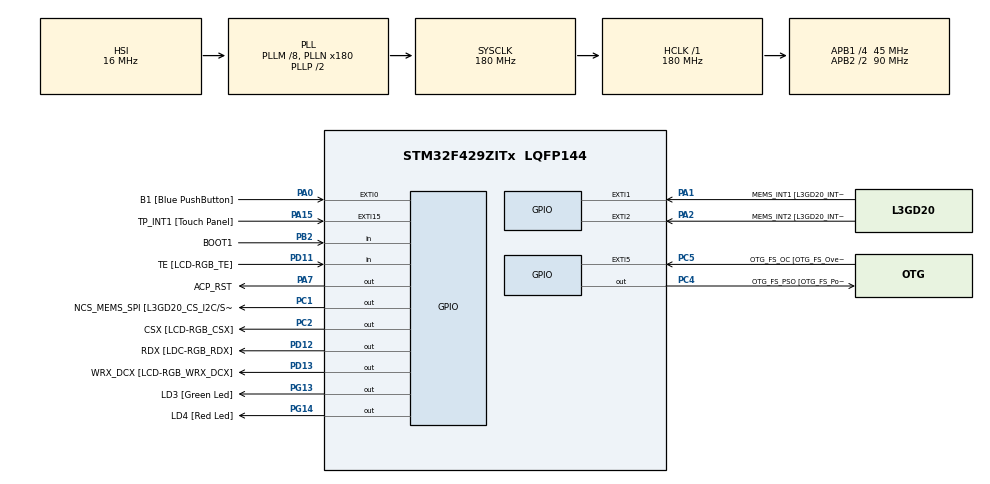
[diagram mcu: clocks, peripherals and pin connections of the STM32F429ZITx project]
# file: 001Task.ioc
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Mcu.Family=STM32F4
Mcu.Name=STM32F429ZITx
Mcu.Package=LQFP144
NVIC.PriorityGroup=NVIC_PRIORITYGROUP_4
NVIC.TIM5_IRQn=true\:0\:0\:false\:false\:true\:false\:true
NVIC.TimeBase=TIM5_IRQn
NVIC.TimeBaseIP=TIM5
PA0/WKUP.GPIO_Label=B1 [Blue PushButton]
PA0/WKUP.GPIO_ModeDefaultEXTI=GPIO_MODE_EVT_RISING
PA0/WKUP.GPIO_PuPd=GPIO_NOPULL
PA0/WKUP.Signal=GPXTI0
PA1.GPIO_Label=MEMS_INT1 [L3GD20_INT1]
PA1.GPIO_ModeDefaultEXTI=GPIO_MODE_EVT_RISING
PA1.GPIO_PuPd=GPIO_NOPULL
PA1.Signal=GPXTI1
PA10.GPIO_Label=STLINK_TX [STM32F103CBT6_PA2]
PA10.Signal=USART1_RX
PA11.GPIO_Label=R4
PA11.GPIO_Mode=GPIO_MODE_AF_PP
PA11.GPIO_PuPd=GPIO_NOPULL
PA11.GPIO_Speed=GPIO_SPEED_FREQ_LOW
PA11.Signal=LTDC_R4
PA12.GPIO_Label=R5
PA12.GPIO_Mode=GPIO_MODE_AF_PP
PA12.GPIO_PuPd=GPIO_NOPULL
PA12.GPIO_Speed=GPIO_SPEED_FREQ_LOW
PA12.Signal=LTDC_R5
PA13.GPIO_Label=SWDIO
PA13.Signal=SYS_JTMS-SWDIO
PA14.GPIO_Label=SWCLK
PA14.Signal=SYS_JTCK-SWCLK
PA15.GPIO_Label=TP_INT1 [Touch Panel]
PA15.GPIO_ModeDefaultEXTI=GPIO_MODE_EVT_RISING
PA15.GPIO_PuPd=GPIO_NOPULL
PA15.Signal=GPXTI15
PA2.GPIO_Label=MEMS_INT2 [L3GD20_INT2]
PA2.GPIO_ModeDefaultEXTI=GPIO_MODE_EVT_RISING
PA2.GPIO_PuPd=GPIO_NOPULL
PA2.Signal=GPXTI2
PA3.GPIO_Label=B5
PA3.GPIO_Mode=GPIO_MODE_AF_PP
PA3.GPIO_PuPd=GPIO_NOPULL
PA3.GPIO_Speed=GPIO_SPEED_FREQ_LOW
PA3.Signal=LTDC_B5
PA4.GPIO_Label=VSYNC
PA4.GPIO_Mode=GPIO_MODE_AF_PP
PA4.GPIO_PuPd=GPIO_NOPULL
PA4.GPIO_Speed=GPIO_SPEED_FREQ_LOW
PA4.Signal=LTDC_VSYNC
PA6.GPIO_Label=G2
PA6.GPIO_Mode=GPIO_MODE_AF_PP
PA6.GPIO_PuPd=GPIO_NOPULL
PA6.GPIO_Speed=GPIO_SPEED_FREQ_LOW
PA6.Signal=LTDC_G2
PA7.GPIO_Label=ACP_RST
PA7.GPIO_Mode=GPIO_MODE_OUTPUT_PP
PA7.GPIO_PuPd=GPIO_NOPULL
PA7.GPIO_Speed=GPIO_SPEED_FREQ_LOW
PA7.Signal=GPIO_Output
PA8.GPIO_Label=I2C3_SCL [ACP/RF_SCL]
PA8.GPIO_Mode=GPIO_MODE_AF_OD
PA8.GPIO_PuPd=GPIO_NOPULL
PA8.GPIO_Speed=GPIO_SPEED_FREQ_LOW
PA8.Signal=I2C3_SCL
PA9.GPIO_Label=STLINK_RX [STM32F103CBT6_PA3]
PA9.Signal=USART1_TX
PB0.GPIO_Label=R3
PB0.GPIO_Mode=GPIO_MODE_AF_PP
PB0.GPIO_PuPd=GPIO_NOPULL
PB0.GPIO_Speed=GPIO_SPEED_FREQ_LOW
PB0.Signal=LTDC_R3
PB1.GPIO_Label=R6
PB1.GPIO_Mode=GPIO_MODE_AF_PP
PB1.GPIO_PuPd=GPIO_NOPULL
PB1.GPIO_Speed=GPIO_SPEED_FREQ_LOW
PB1.Signal=LTDC_R6
PB10.GPIO_Label=G4
PB10.GPIO_Mode=GPIO_MODE_AF_PP
PB10.GPIO_PuPd=GPIO_NOPULL
PB10.GPIO_Speed=GPIO_SPEED_FREQ_LOW
PB10.Signal=LTDC_G4
PB11.GPIO_Label=G5
PB11.GPIO_Mode=GPIO_MODE_AF_PP
PB11.GPIO_PuPd=GPIO_NOPULL
PB11.GPIO_Speed=GPIO_SPEED_FREQ_LOW
PB11.Signal=LTDC_G5
PB12.GPIO_Label=OTG_HS_ID
PB12.GPIO_Mode=GPIO_MODE_AF_PP
PB12.GPIO_PuPd=GPIO_NOPULL
PB12.GPIO_Speed=GPIO_SPEED_FREQ_LOW
PB12.Signal=USB_OTG_HS_ID
PB13.GPIO_Label=VBUS_HS
PB13.GPIO_Mode=GPIO_MODE_INPUT
PB13.GPIO_PuPd=GPIO_NOPULL
PB13.Signal=USB_OTG_HS_VBUS
PB14.GPIO_Label=OTG_HS_DM
PB14.GPIO_Mode=GPIO_MODE_AF_PP
PB14.GPIO_PuPd=GPIO_NOPULL
PB14.GPIO_Speed=GPIO_SPEED_FREQ_LOW
PB14.Signal=USB_OTG_HS_DM
PB15.GPIO_Label=OTG_HS_DP
PB15.GPIO_Mode=GPIO_MODE_AF_PP
PB15.GPIO_PuPd=GPIO_NOPULL
PB15.GPIO_Speed=GPIO_SPEED_FREQ_LOW
PB15.Signal=USB_OTG_HS_DP
PB2/BOOT1.GPIO_Label=BOOT1
PB2/BOOT1.GPIO_Mode=GPIO_MODE_INPUT
PB2/BOOT1.GPIO_PuPd=GPIO_NOPULL
PB2/BOOT1.Signal=GPIO_Input
PB5.GPIO_Label=SDCKE1
PB5.GPIO_Mode=GPIO_MODE_AF_PP
PB5.GPIO_PuPd=GPIO_NOPULL
PB5.GPIO_Speed=GPIO_SPEED_FREQ_VERY_HIGH
PB5.Signal=FMC_SDCKE1
PB6.GPIO_Label=SDNE1 [SDRAM_CS]
PB6.GPIO_Mode=GPIO_MODE_AF_PP
PB6.GPIO_PuPd=GPIO_NOPULL
PB6.GPIO_Speed=GPIO_SPEED_FREQ_VERY_HIGH
PB6.Signal=FMC_SDNE1
PB8.GPIO_Label=B6
PB8.GPIO_Mode=GPIO_MODE_AF_PP
PB8.GPIO_PuPd=GPIO_NOPULL
PB8.GPIO_Speed=GPIO_SPEED_FREQ_LOW
PB8.Signal=LTDC_B6
PB9.GPIO_Label=B7
PB9.GPIO_Mode=GPIO_MODE_AF_PP
PB9.GPIO_PuPd=GPIO_NOPULL
PB9.GPIO_Speed=GPIO_SPEED_FREQ_LOW
PB9.Signal=LTDC_B7
PC0.GPIO_Label=SDNWE
PC0.GPIO_Mode=GPIO_MODE_AF_PP
PC0.GPIO_PuPd=GPIO_NOPULL
PC0.GPIO_Speed=GPIO_SPEED_FREQ_VERY_HIGH
PC0.Signal=FMC_SDNWE
PC1.GPIO_Label=NCS_MEMS_SPI [L3GD20_CS_I2C/SPI]
PC1.GPIO_Mode=GPIO_MODE_OUTPUT_PP
PC1.GPIO_PuPd=GPIO_NOPULL
PC1.GPIO_Speed=GPIO_SPEED_FREQ_LOW
PC1.Signal=GPIO_Output
PC10.GPIO_Label=R2
PC10.GPIO_Mode=GPIO_MODE_AF_PP
PC10.GPIO_PuPd=GPIO_NOPULL
PC10.GPIO_Speed=GPIO_SPEED_FREQ_LOW
PC10.Signal=LTDC_R2
PC14/OSC32_IN.GPIO_Label=PC14-OSC32_IN
PC14/OSC32_IN.Signal=RCC_OSC32_IN
PC15/OSC32_OUT.GPIO_Label=PC15-OSC32_OUT
PC15/OSC32_OUT.Signal=RCC_OSC32_OUT
PC2.GPIO_Label=CSX [LCD-RGB_CSX]
PC2.GPIO_Mode=GPIO_MODE_OUTPUT_PP
PC2.GPIO_PuPd=GPIO_NOPULL
PC2.GPIO_Speed=GPIO_SPEED_FREQ_LOW
PC2.Signal=GPIO_Output
PC4.GPIO_Label=OTG_FS_PSO [OTG_FS_PowerSwitchOn]
PC4.GPIO_Mode=GPIO_MODE_OUTPUT_PP
PC4.GPIO_PuPd=GPIO_NOPULL
PC4.GPIO_Speed=GPIO_SPEED_FREQ_LOW
PC4.Signal=GPIO_Output
PC5.GPIO_Label=OTG_FS_OC [OTG_FS_OverCurrent]
PC5.GPIO_ModeDefaultEXTI=GPIO_MODE_EVT_RISING
PC5.Signal=GPXTI5
PC6.GPIO_Label=HSYNC
PC6.GPIO_Mode=GPIO_MODE_AF_PP
PC6.GPIO_PuPd=GPIO_NOPULL
PC6.GPIO_Speed=GPIO_SPEED_FREQ_LOW
PC6.Signal=LTDC_HSYNC
PC7.GPIO_Label=G6
PC7.GPIO_Mode=GPIO_MODE_AF_PP
PC7.GPIO_PuPd=GPIO_NOPULL
PC7.GPIO_Speed=GPIO_SPEED_FREQ_LOW
PC7.Signal=LTDC_G6
PC9.GPIO_Label=I2C3_SDA [ACP/RF_SDA]
PC9.GPIO_Mode=GPIO_MODE_AF_OD
PC9.GPIO_PuPd=GPIO_NOPULL
PC9.GPIO_Speed=GPIO_SPEED_FREQ_LOW
PC9.Signal=I2C3_SDA
PD0.GPIO_Label=D2
PD0.GPIO_Mode=GPIO_MODE_AF_PP
PD0.GPIO_PuPd=GPIO_NOPULL
PD0.GPIO_Speed=GPIO_SPEED_FREQ_VERY_HIGH
PD0.Signal=FMC_D2_DA2
PD1.GPIO_Label=D3
PD1.GPIO_Mode=GPIO_MODE_AF_PP
PD1.GPIO_PuPd=GPIO_NOPULL
PD1.GPIO_Speed=GPIO_SPEED_FREQ_VERY_HIGH
PD1.Signal=FMC_D3_DA3
PD10.GPIO_Label=D15
PD10.GPIO_Mode=GPIO_MODE_AF_PP
PD10.GPIO_PuPd=GPIO_NOPULL
PD10.GPIO_Speed=GPIO_SPEED_FREQ_VERY_HIGH
PD10.Signal=FMC_D15_DA15
PD11.GPIO_Label=TE [LCD-RGB_TE]
PD11.GPIO_Mode=GPIO_MODE_INPUT
PD11.GPIO_PuPd=GPIO_NOPULL
PD11.Signal=GPIO_Input
PD12.GPIO_Label=RDX [LDC-RGB_RDX]
PD12.GPIO_Mode=GPIO_MODE_OUTPUT_PP
PD12.GPIO_PuPd=GPIO_NOPULL
PD12.GPIO_Speed=GPIO_SPEED_FREQ_LOW
PD12.Signal=GPIO_Output
PD13.GPIO_Label=WRX_DCX [LCD-RGB_WRX_DCX]
PD13.GPIO_Mode=GPIO_MODE_OUTPUT_PP
PD13.GPIO_PuPd=GPIO_NOPULL
PD13.GPIO_Speed=GPIO_SPEED_FREQ_LOW
PD13.Signal=GPIO_Output
PD14.GPIO_Label=D0
PD14.GPIO_Mode=GPIO_MODE_AF_PP
PD14.GPIO_PuPd=GPIO_NOPULL
PD14.GPIO_Speed=GPIO_SPEED_FREQ_VERY_HIGH
PD14.Signal=FMC_D0_DA0
PD15.GPIO_Label=D1
PD15.GPIO_Mode=GPIO_MODE_AF_PP
PD15.GPIO_PuPd=GPIO_NOPULL
PD15.GPIO_Speed=GPIO_SPEED_FREQ_VERY_HIGH
PD15.Signal=FMC_D1_DA1
PD3.GPIO_Label=G7
PD3.GPIO_Mode=GPIO_MODE_AF_PP
PD3.GPIO_PuPd=GPIO_NOPULL
PD3.GPIO_Speed=GPIO_SPEED_FREQ_LOW
PD3.Signal=LTDC_G7
PD6.GPIO_Label=B2
PD6.GPIO_Mode=GPIO_MODE_AF_PP
PD6.GPIO_PuPd=GPIO_NOPULL
PD6.GPIO_Speed=GPIO_SPEED_FREQ_LOW
PD6.Signal=LTDC_B2
PD8.GPIO_Label=D13
PD8.GPIO_Mode=GPIO_MODE_AF_PP
PD8.GPIO_PuPd=GPIO_NOPULL
PD8.GPIO_Speed=GPIO_SPEED_FREQ_VERY_HIGH
PD8.Signal=FMC_D13_DA13
PD9.GPIO_Label=D14
PD9.GPIO_Mode=GPIO_MODE_AF_PP
PD9.GPIO_PuPd=GPIO_NOPULL
PD9.GPIO_Speed=GPIO_SPEED_FREQ_VERY_HIGH
PD9.Signal=FMC_D14_DA14
PE0.GPIO_Label=NBL0 [SDRAM_LDQM]
PE0.GPIO_Mode=GPIO_MODE_AF_PP
PE0.GPIO_PuPd=GPIO_NOPULL
PE0.GPIO_Speed=GPIO_SPEED_FREQ_VERY_HIGH
PE0.Signal=FMC_NBL0
PE1.GPIO_Label=NBL1 [SDRAM_UDQM]
PE1.GPIO_Mode=GPIO_MODE_AF_PP
PE1.GPIO_PuPd=GPIO_NOPULL
PE1.GPIO_Speed=GPIO_SPEED_FREQ_VERY_HIGH
PE1.Signal=FMC_NBL1
PE10.GPIO_Label=D7
PE10.GPIO_Mode=GPIO_MODE_AF_PP
PE10.GPIO_PuPd=GPIO_NOPULL
PE10.GPIO_Speed=GPIO_SPEED_FREQ_VERY_HIGH
PE10.Signal=FMC_D7_DA7
PE11.GPIO_Label=D8
PE11.GPIO_Mode=GPIO_MODE_AF_PP
PE11.GPIO_PuPd=GPIO_NOPULL
PE11.GPIO_Speed=GPIO_SPEED_FREQ_VERY_HIGH
PE11.Signal=FMC_D8_DA8
PE12.GPIO_Label=D9
PE12.GPIO_Mode=GPIO_MODE_AF_PP
PE12.GPIO_PuPd=GPIO_NOPULL
PE12.GPIO_Speed=GPIO_SPEED_FREQ_VERY_HIGH
PE12.Signal=FMC_D9_DA9
PE13.GPIO_Label=D10
PE13.GPIO_Mode=GPIO_MODE_AF_PP
PE13.GPIO_PuPd=GPIO_NOPULL
PE13.GPIO_Speed=GPIO_SPEED_FREQ_VERY_HIGH
PE13.Signal=FMC_D10_DA10
PE14.GPIO_Label=D11
PE14.GPIO_Mode=GPIO_MODE_AF_PP
PE14.GPIO_PuPd=GPIO_NOPULL
PE14.GPIO_Speed=GPIO_SPEED_FREQ_VERY_HIGH
PE14.Signal=FMC_D11_DA11
PE15.GPIO_Label=D12
PE15.GPIO_Mode=GPIO_MODE_AF_PP
PE15.GPIO_PuPd=GPIO_NOPULL
PE15.GPIO_Speed=GPIO_SPEED_FREQ_VERY_HIGH
PE15.Signal=FMC_D12_DA12
PE7.GPIO_Label=D4
PE7.GPIO_Mode=GPIO_MODE_AF_PP
PE7.GPIO_PuPd=GPIO_NOPULL
PE7.GPIO_Speed=GPIO_SPEED_FREQ_VERY_HIGH
PE7.Signal=FMC_D4_DA4
PE8.GPIO_Label=D5
PE8.GPIO_Mode=GPIO_MODE_AF_PP
PE8.GPIO_PuPd=GPIO_NOPULL
PE8.GPIO_Speed=GPIO_SPEED_FREQ_VERY_HIGH
PE8.Signal=FMC_D5_DA5
PE9.GPIO_Label=D6
PE9.GPIO_Mode=GPIO_MODE_AF_PP
PE9.GPIO_PuPd=GPIO_NOPULL
PE9.GPIO_Speed=GPIO_SPEED_FREQ_VERY_HIGH
PE9.Signal=FMC_D6_DA6
PF0.GPIO_Label=A0
PF0.GPIO_Mode=GPIO_MODE_AF_PP
PF0.GPIO_PuPd=GPIO_NOPULL
PF0.GPIO_Speed=GPIO_SPEED_FREQ_VERY_HIGH
PF0.Signal=FMC_A0
PF1.GPIO_Label=A1
PF1.GPIO_Mode=GPIO_MODE_AF_PP
PF1.GPIO_PuPd=GPIO_NOPULL
PF1.GPIO_Speed=GPIO_SPEED_FREQ_VERY_HIGH
PF1.Signal=FMC_A1
PF10.GPIO_Label=ENABLE [LCD-RGB_ENABLE]
PF10.GPIO_Mode=GPIO_MODE_AF_PP
PF10.GPIO_PuPd=GPIO_NOPULL
PF10.GPIO_Speed=GPIO_SPEED_FREQ_LOW
PF10.Signal=LTDC_DE
PF11.GPIO_Label=SDNRAS
PF11.GPIO_Mode=GPIO_MODE_AF_PP
PF11.GPIO_PuPd=GPIO_NOPULL
PF11.GPIO_Speed=GPIO_SPEED_FREQ_VERY_HIGH
PF11.Signal=FMC_SDNRAS
PF12.GPIO_Label=A6
PF12.GPIO_Mode=GPIO_MODE_AF_PP
PF12.GPIO_PuPd=GPIO_NOPULL
PF12.GPIO_Speed=GPIO_SPEED_FREQ_VERY_HIGH
PF12.Signal=FMC_A6
PF13.GPIO_Label=A7
PF13.GPIO_Mode=GPIO_MODE_AF_PP
PF13.GPIO_PuPd=GPIO_NOPULL
PF13.GPIO_Speed=GPIO_SPEED_FREQ_VERY_HIGH
PF13.Signal=FMC_A7
PF14.GPIO_Label=A8
PF14.GPIO_Mode=GPIO_MODE_AF_PP
PF14.GPIO_PuPd=GPIO_NOPULL
PF14.GPIO_Speed=GPIO_SPEED_FREQ_VERY_HIGH
PF14.Signal=FMC_A8
PF15.GPIO_Label=A9
PF15.GPIO_Mode=GPIO_MODE_AF_PP
PF15.GPIO_PuPd=GPIO_NOPULL
PF15.GPIO_Speed=GPIO_SPEED_FREQ_VERY_HIGH
PF15.Signal=FMC_A9
PF2.GPIO_Label=A2
PF2.GPIO_Mode=GPIO_MODE_AF_PP
PF2.GPIO_PuPd=GPIO_NOPULL
PF2.GPIO_Speed=GPIO_SPEED_FREQ_VERY_HIGH
PF2.Signal=FMC_A2
PF3.GPIO_Label=A3
PF3.GPIO_Mode=GPIO_MODE_AF_PP
PF3.GPIO_PuPd=GPIO_NOPULL
PF3.GPIO_Speed=GPIO_SPEED_FREQ_VERY_HIGH
PF3.Signal=FMC_A3
PF4.GPIO_Label=A4
PF4.GPIO_Mode=GPIO_MODE_AF_PP
PF4.GPIO_PuPd=GPIO_NOPULL
PF4.GPIO_Speed=GPIO_SPEED_FREQ_VERY_HIGH
PF4.Signal=FMC_A4
PF5.GPIO_Label=A5
PF5.GPIO_Mode=GPIO_MODE_AF_PP
PF5.GPIO_PuPd=GPIO_NOPULL
PF5.GPIO_Speed=GPIO_SPEED_FREQ_VERY_HIGH
PF5.Signal=FMC_A5
PF7.GPIO_Label=SPI5_SCK [L3GD20_SCL/SPC]
PF7.GPIO_Mode=GPIO_MODE_AF_PP
PF7.GPIO_PuPd=GPIO_NOPULL
PF7.GPIO_Speed=GPIO_SPEED_FREQ_LOW
PF7.Signal=SPI5_SCK
PF8.GPIO_Label=SPI5_MISO [L3GD20_SDO]
PF8.GPIO_Mode=GPIO_MODE_AF_PP
PF8.GPIO_PuPd=GPIO_NOPULL
PF8.GPIO_Speed=GPIO_SPEED_FREQ_LOW
PF8.Signal=SPI5_MISO
PF9.GPIO_Label=SPI5_MOSI [L3GD20_SDA/SDI/SDO]
PF9.GPIO_Mode=GPIO_MODE_AF_PP
PF9.GPIO_PuPd=GPIO_NOPULL
PF9.GPIO_Speed=GPIO_SPEED_FREQ_LOW
PF9.Signal=SPI5_MOSI
PG0.GPIO_Label=A10
PG0.GPIO_Mode=GPIO_MODE_AF_PP
PG0.GPIO_PuPd=GPIO_NOPULL
PG0.GPIO_Speed=GPIO_SPEED_FREQ_VERY_HIGH
PG0.Signal=FMC_A10
PG1.GPIO_Label=A11
PG1.GPIO_Mode=GPIO_MODE_AF_PP
PG1.GPIO_PuPd=GPIO_NOPULL
PG1.GPIO_Speed=GPIO_SPEED_FREQ_VERY_HIGH
PG1.Signal=FMC_A11
PG10.GPIO_Label=G3
PG10.GPIO_Mode=GPIO_MODE_AF_PP
PG10.GPIO_PuPd=GPIO_NOPULL
PG10.GPIO_Speed=GPIO_SPEED_FREQ_LOW
PG10.Signal=LTDC_G3
PG11.GPIO_Label=B3
PG11.GPIO_Mode=GPIO_MODE_AF_PP
PG11.GPIO_PuPd=GPIO_NOPULL
PG11.GPIO_Speed=GPIO_SPEED_FREQ_LOW
PG11.Signal=LTDC_B3
PG12.GPIO_Label=B4
PG12.GPIO_Mode=GPIO_MODE_AF_PP
PG12.GPIO_PuPd=GPIO_NOPULL
PG12.GPIO_Speed=GPIO_SPEED_FREQ_LOW
PG12.Signal=LTDC_B4
PG13.GPIO_Label=LD3 [Green Led]
PG13.GPIO_Mode=GPIO_MODE_OUTPUT_PP
PG13.GPIO_PuPd=GPIO_NOPULL
PG13.GPIO_Speed=GPIO_SPEED_FREQ_LOW
PG13.Signal=GPIO_Output
PG14.GPIO_Label=LD4 [Red Led]
PG14.GPIO_Mode=GPIO_MODE_OUTPUT_PP
PG14.GPIO_PuPd=GPIO_NOPULL
PG14.GPIO_Speed=GPIO_SPEED_FREQ_LOW
PG14.Signal=GPIO_Output
PG15.GPIO_Label=SDNCAS
PG15.GPIO_Mode=GPIO_MODE_AF_PP
PG15.GPIO_PuPd=GPIO_NOPULL
PG15.GPIO_Speed=GPIO_SPEED_FREQ_VERY_HIGH
PG15.Signal=FMC_SDNCAS
PG4.GPIO_Label=BA0
PG4.GPIO_Mode=GPIO_MODE_AF_PP
PG4.GPIO_PuPd=GPIO_NOPULL
PG4.GPIO_Speed=GPIO_SPEED_FREQ_VERY_HIGH
PG4.Signal=FMC_A14_BA0
PG5.GPIO_Label=BA1
PG5.GPIO_Mode=GPIO_MODE_AF_PP
PG5.GPIO_PuPd=GPIO_NOPULL
PG5.GPIO_Speed=GPIO_SPEED_FREQ_VERY_HIGH
PG5.Signal=FMC_A15_BA1
PG6.GPIO_Label=R7
PG6.GPIO_Mode=GPIO_MODE_AF_PP
PG6.GPIO_PuPd=GPIO_NOPULL
PG6.GPIO_Speed=GPIO_SPEED_FREQ_LOW
PG6.Signal=LTDC_R7
PG7.GPIO_Label=DOTCLK [LCT-RGB_DOTCLK]
PG7.GPIO_Mode=GPIO_MODE_AF_PP
PG7.GPIO_PuPd=GPIO_NOPULL
PG7.GPIO_Speed=GPIO_SPEED_FREQ_LOW
PG7.Signal=LTDC_CLK
PG8.GPIO_Label=SDCLK
PG8.GPIO_Mode=GPIO_MODE_AF_PP
PG8.GPIO_PuPd=GPIO_NOPULL
PG8.GPIO_Speed=GPIO_SPEED_FREQ_VERY_HIGH
PG8.Signal=FMC_SDCLK
PH0/OSC_IN.GPIO_Label=PH0-OSC_IN
PH0/OSC_IN.Signal=RCC_OSC_IN
PH1/OSC_OUT.GPIO_Label=PH1-OSC_OUT
PH1/OSC_OUT.Signal=RCC_OSC_OUT
ProjectManager.HeapSize=0x200
ProjectManager.StackSize=0x400
ProjectManager.TargetToolchain=STM32CubeIDE
RCC.48MHZClocksFreq_Value=51428571.428571425
RCC.AHBFreq_Value=180000000
RCC.APB1CLKDivider=RCC_HCLK_DIV4
RCC.APB1Freq_Value=45000000
RCC.APB1TimFreq_Value=90000000
RCC.APB2CLKDivider=RCC_HCLK_DIV2
RCC.APB2Freq_Value=90000000
RCC.APB2TimFreq_Value=180000000
RCC.CortexFreq_Value=180000000
RCC.HCLKFreq_Value=180000000
RCC.HSE_VALUE=8000000
RCC.HSI_VALUE=16000000
RCC.LSE_VALUE=32768
RCC.PLLM=8
RCC.PLLN=180
RCC.PLLQ=7
RCC.SYSCLKFreq_VALUE=180000000
RCC.SYSCLKSource=RCC_SYSCLKSOURCE_PLLCLK
RCC.VCOOutputFreq_Value=360000000
SH.FMC_A0.0=FMC_A0
SH.FMC_A1.0=FMC_A1
SH.FMC_A10.0=FMC_A10
SH.FMC_A11.0=FMC_A11
SH.FMC_A14_BA0.0=FMC_BA0
SH.FMC_A15_BA1.0=FMC_BA1
SH.FMC_A2.0=FMC_A2
SH.FMC_A3.0=FMC_A3
SH.FMC_A4.0=FMC_A4
SH.FMC_A5.0=FMC_A5
SH.FMC_A6.0=FMC_A6
SH.FMC_A7.0=FMC_A7
SH.FMC_A8.0=FMC_A8
SH.FMC_A9.0=FMC_A9
SH.FMC_D0_DA0.0=FMC_D0
SH.FMC_D10_DA10.0=FMC_D10
SH.FMC_D11_DA11.0=FMC_D11
SH.FMC_D12_DA12.0=FMC_D12
SH.FMC_D13_DA13.0=FMC_D13
SH.FMC_D14_DA14.0=FMC_D14
SH.FMC_D15_DA15.0=FMC_D15
SH.FMC_D1_DA1.0=FMC_D1
SH.FMC_D2_DA2.0=FMC_D2
SH.FMC_D3_DA3.0=FMC_D3
SH.FMC_D4_DA4.0=FMC_D4
SH.FMC_D5_DA5.0=FMC_D5
SH.FMC_D6_DA6.0=FMC_D6
SH.FMC_D7_DA7.0=FMC_D7
SH.FMC_D8_DA8.0=FMC_D8
SH.FMC_D9_DA9.0=FMC_D9
SH.FMC_NBL0.0=FMC_NBL0
SH.FMC_NBL1.0=FMC_NBL1
SH.FMC_SDCLK.0=FMC_SDCLK
SH.FMC_SDNCAS.0=FMC_SDNCAS
SH.FMC_SDNRAS.0=FMC_SDNRAS
SH.FMC_SDNWE.0=FMC_SDNWE
VP_SYS_VS_tim5.Mode=TIM5
board=STM32F429I-DISC1

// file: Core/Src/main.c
/* USER CODE BEGIN Header */
/**
  ******************************************************************************
  * @file           : main.c
  * @brief          : Main program body
  ******************************************************************************
  * @attention
  *
  * <h2><center>&copy; Copyright (c) 2021 STMicroelectronics.
  * All rights reserved.</center></h2>
  *
  * This software component is licensed by ST under BSD 3-Clause license,
  * the "License"; You may not use this file except in compliance with the
  * License. You may obtain a copy of the License at:
  *                        opensource.org/licenses/BSD-3-Clause
  *
  ******************************************************************************
  */
/* USER CODE END Header */
#include "main.h"

/* USER CODE BEGIN Includes */
#include <stdio.h>
#include "FreeRTOS.h"
#include "task.h"

/* USER CODE END Includes */

/* USER CODE BEGIN PV */

#define DWT_CTRL (*(volatile uint32_t*)0xE0001000)
/* USER CODE END PV */

void SystemClock_Config(void);
static void MX_GPIO_Init(void);
/* USER CODE BEGIN PFP */

static void task1_handler (void* parameters);
static void task2_handler (void* parameters);
/* USER CODE END PFP */

int main(void)
{
  /* USER CODE BEGIN 1 */
	TaskHandle_t task1_handle;
	TaskHandle_t task2_handle;

	BaseType_t status;

  /* USER CODE END 1 */

  /* MCU Configuration--------------------------------------------------------*/

  /* Reset of all peripherals, Initializes the Flash interface and the Systick. */
  HAL_Init();

  /* Configure the system clock */
  SystemClock_Config();

  /* Initialize all configured peripherals */
  MX_GPIO_Init();
  /* USER CODE BEGIN 2 */

  //enable CYCCNT counter
  DWT_CTRL |= ( 1 << 0 );

 // SEGGER_UART_init(250000);

  SEGGER_SYSVIEW_Conf();

  SEGGER_SYSVIEW_Start();

  status = xTaskCreate (task1_handler, "Task-1", 200, "Hello world from Task-1", 2, &task1_handle);
  configASSERT (status == pdPASS);

  status = xTaskCreate (task2_handler, "Task-2", 200, "Hello world from Task-2", 2, &task2_handle);
  configASSERT (status == pdPASS);

  //start the scheduler

  vTaskStartScheduler();

  /* USER CODE END 2 */

  /* Infinite loop */
  while (1)
  {

  }
}

void SystemClock_Config(void)
{
  RCC_OscInitTypeDef RCC_OscInitStruct = {0};
  RCC_ClkInitTypeDef RCC_ClkInitStruct = {0};

  /** Configure the main internal regulator output voltage
  */
  __HAL_RCC_PWR_CLK_ENABLE();
  __HAL_PWR_VOLTAGESCALING_CONFIG(PWR_REGULATOR_VOLTAGE_SCALE1);
  /** Initializes the RCC Oscillators according to the specified parameters
  * in the RCC_OscInitTypeDef structure.
  */
  RCC_OscInitStruct.OscillatorType = RCC_OSCILLATORTYPE_HSI;
  RCC_OscInitStruct.HSIState = RCC_HSI_ON;
  RCC_OscInitStruct.HSICalibrationValue = RCC_HSICALIBRATION_DEFAULT;
  RCC_OscInitStruct.PLL.PLLState = RCC_PLL_ON;
  RCC_OscInitStruct.PLL.PLLSource = RCC_PLLSOURCE_HSI;
  RCC_OscInitStruct.PLL.PLLM = 8;
  RCC_OscInitStruct.PLL.PLLN = 180;
  RCC_OscInitStruct.PLL.PLLP = RCC_PLLP_DIV2;
  RCC_OscInitStruct.PLL.PLLQ = 7;
  if (HAL_RCC_OscConfig(&RCC_OscInitStruct) != HAL_OK)
  {
    Error_Handler();
  }
  /** Activate the Over-Drive mode
  */
  if (HAL_PWREx_EnableOverDrive() != HAL_OK)
  {
    Error_Handler();
  }
  /** Initializes the CPU, AHB and APB buses clocks
  */
  RCC_ClkInitStruct.ClockType = RCC_CLOCKTYPE_HCLK|RCC_CLOCKTYPE_SYSCLK
                              |RCC_CLOCKTYPE_PCLK1|RCC_CLOCKTYPE_PCLK2;
  RCC_ClkInitStruct.SYSCLKSource = RCC_SYSCLKSOURCE_PLLCLK;
  RCC_ClkInitStruct.AHBCLKDivider = RCC_SYSCLK_DIV1;
  RCC_ClkInitStruct.APB1CLKDivider = RCC_HCLK_DIV4;
  RCC_ClkInitStruct.APB2CLKDivider = RCC_HCLK_DIV2;

  if (HAL_RCC_ClockConfig(&RCC_ClkInitStruct, FLASH_LATENCY_5) != HAL_OK)
  {
    Error_Handler();
  }
}

static void MX_GPIO_Init(void)
{
  GPIO_InitTypeDef GPIO_InitStruct = {0};

  /* GPIO Ports Clock Enable */
  __HAL_RCC_GPIOC_CLK_ENABLE();
  __HAL_RCC_GPIOF_CLK_ENABLE();
  __HAL_RCC_GPIOH_CLK_ENABLE();
  __HAL_RCC_GPIOA_CLK_ENABLE();
  __HAL_RCC_GPIOB_CLK_ENABLE();
  __HAL_RCC_GPIOG_CLK_ENABLE();
  __HAL_RCC_GPIOE_CLK_ENABLE();
  __HAL_RCC_GPIOD_CLK_ENABLE();

  /*Configure GPIO pin Output Level */
  HAL_GPIO_WritePin(GPIOC, NCS_MEMS_SPI_Pin|CSX_Pin|OTG_FS_PSO_Pin, GPIO_PIN_RESET);

  /*Configure GPIO pin Output Level */
  HAL_GPIO_WritePin(ACP_RST_GPIO_Port, ACP_RST_Pin, GPIO_PIN_RESET);

  /*Configure GPIO pin Output Level */
  HAL_GPIO_WritePin(GPIOD, RDX_Pin|WRX_DCX_Pin, GPIO_PIN_RESET);

  /*Configure GPIO pin Output Level */
  HAL_GPIO_WritePin(GPIOG, LD3_Pin|LD4_Pin, GPIO_PIN_RESET);

  /*Configure GPIO pins : A0_Pin A1_Pin A2_Pin A3_Pin
                           A4_Pin A5_Pin SDNRAS_Pin A6_Pin
                           A7_Pin A8_Pin A9_Pin */
  GPIO_InitStruct.Pin = A0_Pin|A1_Pin|A2_Pin|A3_Pin
                          |A4_Pin|A5_Pin|SDNRAS_Pin|A6_Pin
                          |A7_Pin|A8_Pin|A9_Pin;
  GPIO_InitStruct.Mode = GPIO_MODE_AF_PP;
  GPIO_InitStruct.Pull = GPIO_NOPULL;
  GPIO_InitStruct.Speed = GPIO_SPEED_FREQ_VERY_HIGH;
  GPIO_InitStruct.Alternate = GPIO_AF12_FMC;
  HAL_GPIO_Init(GPIOF, &GPIO_InitStruct);

  /*Configure GPIO pins : SPI5_SCK_Pin SPI5_MISO_Pin SPI5_MOSI_Pin */
  GPIO_InitStruct.Pin = SPI5_SCK_Pin|SPI5_MISO_Pin|SPI5_MOSI_Pin;
  GPIO_InitStruct.Mode = GPIO_MODE_AF_PP;
  GPIO_InitStruct.Pull = GPIO_NOPULL;
  GPIO_InitStruct.Speed = GPIO_SPEED_FREQ_LOW;
  GPIO_InitStruct.Alternate = GPIO_AF5_SPI5;
  HAL_GPIO_Init(GPIOF, &GPIO_InitStruct);

  /*Configure GPIO pin : ENABLE_Pin */
  GPIO_InitStruct.Pin = ENABLE_Pin;
  GPIO_InitStruct.Mode = GPIO_MODE_AF_PP;
  GPIO_InitStruct.Pull = GPIO_NOPULL;
  GPIO_InitStruct.Speed = GPIO_SPEED_FREQ_LOW;
  GPIO_InitStruct.Alternate = GPIO_AF14_LTDC;
  HAL_GPIO_Init(ENABLE_GPIO_Port, &GPIO_InitStruct);

  /*Configure GPIO pin : SDNWE_Pin */
  GPIO_InitStruct.Pin = SDNWE_Pin;
  GPIO_InitStruct.Mode = GPIO_MODE_AF_PP;
  GPIO_InitStruct.Pull = GPIO_NOPULL;
  GPIO_InitStruct.Speed = GPIO_SPEED_FREQ_VERY_HIGH;
  GPIO_InitStruct.Alternate = GPIO_AF12_FMC;
  HAL_GPIO_Init(SDNWE_GPIO_Port, &GPIO_InitStruct);

  /*Configure GPIO pins : NCS_MEMS_SPI_Pin CSX_Pin OTG_FS_PSO_Pin */
  GPIO_InitStruct.Pin = NCS_MEMS_SPI_Pin|CSX_Pin|OTG_FS_PSO_Pin;
  GPIO_InitStruct.Mode = GPIO_MODE_OUTPUT_PP;
  GPIO_InitStruct.Pull = GPIO_NOPULL;
  GPIO_InitStruct.Speed = GPIO_SPEED_FREQ_LOW;
  HAL_GPIO_Init(GPIOC, &GPIO_InitStruct);

  /*Configure GPIO pins : B1_Pin MEMS_INT1_Pin MEMS_INT2_Pin TP_INT1_Pin */
  GPIO_InitStruct.Pin = B1_Pin|MEMS_INT1_Pin|MEMS_INT2_Pin|TP_INT1_Pin;
  GPIO_InitStruct.Mode = GPIO_MODE_EVT_RISING;
  GPIO_InitStruct.Pull = GPIO_NOPULL;
  HAL_GPIO_Init(GPIOA, &GPIO_InitStruct);

  /*Configure GPIO pins : B5_Pin VSYNC_Pin G2_Pin R4_Pin
                           R5_Pin */
  GPIO_InitStruct.Pin = B5_Pin|VSYNC_Pin|G2_Pin|R4_Pin
                          |R5_Pin;
  GPIO_InitStruct.Mode = GPIO_MODE_AF_PP;
  GPIO_InitStruct.Pull = GPIO_NOPULL;
  GPIO_InitStruct.Speed = GPIO_SPEED_FREQ_LOW;
  GPIO_InitStruct.Alternate = GPIO_AF14_LTDC;
  HAL_GPIO_Init(GPIOA, &GPIO_InitStruct);

  /*Configure GPIO pin : ACP_RST_Pin */
  GPIO_InitStruct.Pin = ACP_RST_Pin;
  GPIO_InitStruct.Mode = GPIO_MODE_OUTPUT_PP;
  GPIO_InitStruct.Pull = GPIO_NOPULL;
  GPIO_InitStruct.Speed = GPIO_SPEED_FREQ_LOW;
  HAL_GPIO_Init(ACP_RST_GPIO_Port, &GPIO_InitStruct);

  /*Configure GPIO pin : OTG_FS_OC_Pin */
  GPIO_InitStruct.Pin = OTG_FS_OC_Pin;
  GPIO_InitStruct.Mode = GPIO_MODE_EVT_RISING;
  GPIO_InitStruct.Pull = GPIO_NOPULL;
  HAL_GPIO_Init(OTG_FS_OC_GPIO_Port, &GPIO_InitStruct);

  /*Configure GPIO pins : R3_Pin R6_Pin */
  GPIO_InitStruct.Pin = R3_Pin|R6_Pin;
  GPIO_InitStruct.Mode = GPIO_MODE_AF_PP;
  GPIO_InitStruct.Pull = GPIO_NOPULL;
  GPIO_InitStruct.Speed = GPIO_SPEED_FREQ_LOW;
  GPIO_InitStruct.Alternate = GPIO_AF9_LTDC;
  HAL_GPIO_Init(GPIOB, &GPIO_InitStruct);

  /*Configure GPIO pin : BOOT1_Pin */
  GPIO_InitStruct.Pin = BOOT1_Pin;
  GPIO_InitStruct.Mode = GPIO_MODE_INPUT;
  GPIO_InitStruct.Pull = GPIO_NOPULL;
  HAL_GPIO_Init(BOOT1_GPIO_Port, &GPIO_InitStruct);

  /*Configure GPIO pins : A10_Pin A11_Pin BA0_Pin BA1_Pin
                           SDCLK_Pin SDNCAS_Pin */
  GPIO_InitStruct.Pin = A10_Pin|A11_Pin|BA0_Pin|BA1_Pin
                          |SDCLK_Pin|SDNCAS_Pin;
  GPIO_InitStruct.Mode = GPIO_MODE_AF_PP;
  GPIO_InitStruct.Pull = GPIO_NOPULL;
  GPIO_InitStruct.Speed = GPIO_SPEED_FREQ_VERY_HIGH;
  GPIO_InitStruct.Alternate = GPIO_AF12_FMC;
  HAL_GPIO_Init(GPIOG, &GPIO_InitStruct);

  /*Configure GPIO pins : D4_Pin D5_Pin D6_Pin D7_Pin
                           D8_Pin D9_Pin D10_Pin D11_Pin
                           D12_Pin NBL0_Pin NBL1_Pin */
  GPIO_InitStruct.Pin = D4_Pin|D5_Pin|D6_Pin|D7_Pin
                          |D8_Pin|D9_Pin|D10_Pin|D11_Pin
                          |D12_Pin|NBL0_Pin|NBL1_Pin;
  GPIO_InitStruct.Mode = GPIO_MODE_AF_PP;
  GPIO_InitStruct.Pull = GPIO_NOPULL;
  GPIO_InitStruct.Speed = GPIO_SPEED_FREQ_VERY_HIGH;
  GPIO_InitStruct.Alternate = GPIO_AF12_FMC;
  HAL_GPIO_Init(GPIOE, &GPIO_InitStruct);

  /*Configure GPIO pins : G4_Pin G5_Pin B6_Pin B7_Pin */
  GPIO_InitStruct.Pin = G4_Pin|G5_Pin|B6_Pin|B7_Pin;
  GPIO_InitStruct.Mode = GPIO_MODE_AF_PP;
  GPIO_InitStruct.Pull = GPIO_NOPULL;
  GPIO_InitStruct.Speed = GPIO_SPEED_FREQ_LOW;
  GPIO_InitStruct.Alternate = GPIO_AF14_LTDC;
  HAL_GPIO_Init(GPIOB, &GPIO_InitStruct);

  /*Configure GPIO pins : OTG_HS_ID_Pin OTG_HS_DM_Pin OTG_HS_DP_Pin */
  GPIO_InitStruct.Pin = OTG_HS_ID_Pin|OTG_HS_DM_Pin|OTG_HS_DP_Pin;
  GPIO_InitStruct.Mode = GPIO_MODE_AF_PP;
  GPIO_InitStruct.Pull = GPIO_NOPULL;
  GPIO_InitStruct.Speed = GPIO_SPEED_FREQ_LOW;
  GPIO_InitStruct.Alternate = GPIO_AF12_OTG_HS_FS;
  HAL_GPIO_Init(GPIOB, &GPIO_InitStruct);

  /*Configure GPIO pin : VBUS_HS_Pin */
  GPIO_InitStruct.Pin = VBUS_HS_Pin;
  GPIO_InitStruct.Mode = GPIO_MODE_INPUT;
  GPIO_InitStruct.Pull = GPIO_NOPULL;
  HAL_GPIO_Init(VBUS_HS_GPIO_Port, &GPIO_InitStruct);

  /*Configure GPIO pins : D13_Pin D14_Pin D15_Pin D0_Pin
                           D1_Pin D2_Pin D3_Pin */
  GPIO_InitStruct.Pin = D13_Pin|D14_Pin|D15_Pin|D0_Pin
                          |D1_Pin|D2_Pin|D3_Pin;
  GPIO_InitStruct.Mode = GPIO_MODE_AF_PP;
  GPIO_InitStruct.Pull = GPIO_NOPULL;
  GPIO_InitStruct.Speed = GPIO_SPEED_FREQ_VERY_HIGH;
  GPIO_InitStruct.Alternate = GPIO_AF12_FMC;
  HAL_GPIO_Init(GPIOD, &GPIO_InitStruct);

  /*Configure GPIO pin : TE_Pin */
  GPIO_InitStruct.Pin = TE_Pin;
  GPIO_InitStruct.Mode = GPIO_MODE_INPUT;
  GPIO_InitStruct.Pull = GPIO_NOPULL;
  HAL_GPIO_Init(TE_GPIO_Port, &GPIO_InitStruct);

  /*Configure GPIO pins : RDX_Pin WRX_DCX_Pin */
  GPIO_InitStruct.Pin = RDX_Pin|WRX_DCX_Pin;
  GPIO_InitStruct.Mode = GPIO_MODE_OUTPUT_PP;
  GPIO_InitStruct.Pull = GPIO_NOPULL;
  GPIO_InitStruct.Speed = GPIO_SPEED_FREQ_LOW;
  HAL_GPIO_Init(GPIOD, &GPIO_InitStruct);

  /*Configure GPIO pins : R7_Pin DOTCLK_Pin B3_Pin */
  GPIO_InitStruct.Pin = R7_Pin|DOTCLK_Pin|B3_Pin;
  GPIO_InitStruct.Mode = GPIO_MODE_AF_PP;
  GPIO_InitStruct.Pull = GPIO_NOPULL;
  GPIO_InitStruct.Speed = GPIO_SPEED_FREQ_LOW;
  GPIO_InitStruct.Alternate = GPIO_AF14_LTDC;
  HAL_GPIO_Init(GPIOG, &GPIO_InitStruct);

  /*Configure GPIO pins : HSYNC_Pin G6_Pin R2_Pin */
  GPIO_InitStruct.Pin = HSYNC_Pin|G6_Pin|R2_Pin;
  GPIO_InitStruct.Mode = GPIO_MODE_AF_PP;
  GPIO_InitStruct.Pull = GPIO_NOPULL;
  GPIO_InitStruct.Speed = GPIO_SPEED_FREQ_LOW;
  GPIO_InitStruct.Alternate = GPIO_AF14_LTDC;
  HAL_GPIO_Init(GPIOC, &GPIO_InitStruct);

  /*Configure GPIO pin : I2C3_SDA_Pin */
  GPIO_InitStruct.Pin = I2C3_SDA_Pin;
  GPIO_InitStruct.Mode = GPIO_MODE_AF_OD;
  GPIO_InitStruct.Pull = GPIO_NOPULL;
  GPIO_InitStruct.Speed = GPIO_SPEED_FREQ_LOW;
  GPIO_InitStruct.Alternate = GPIO_AF4_I2C3;
  HAL_GPIO_Init(I2C3_SDA_GPIO_Port, &GPIO_InitStruct);

  /*Configure GPIO pin : I2C3_SCL_Pin */
  GPIO_InitStruct.Pin = I2C3_SCL_Pin;
  GPIO_InitStruct.Mode = GPIO_MODE_AF_OD;
  GPIO_InitStruct.Pull = GPIO_NOPULL;
  GPIO_InitStruct.Speed = GPIO_SPEED_FREQ_LOW;
  GPIO_InitStruct.Alternate = GPIO_AF4_I2C3;
  HAL_GPIO_Init(I2C3_SCL_GPIO_Port, &GPIO_InitStruct);

  /*Configure GPIO pins : STLINK_RX_Pin STLINK_TX_Pin */
  GPIO_InitStruct.Pin = STLINK_RX_Pin|STLINK_TX_Pin;
  GPIO_InitStruct.Mode = GPIO_MODE_AF_PP;
  GPIO_InitStruct.Pull = GPIO_NOPULL;
  GPIO_InitStruct.Speed = GPIO_SPEED_FREQ_VERY_HIGH;
  GPIO_InitStruct.Alternate = GPIO_AF7_USART1;
  HAL_GPIO_Init(GPIOA, &GPIO_InitStruct);

  /*Configure GPIO pins : G7_Pin B2_Pin */
  GPIO_InitStruct.Pin = G7_Pin|B2_Pin;
  GPIO_InitStruct.Mode = GPIO_MODE_AF_PP;
  GPIO_InitStruct.Pull = GPIO_NOPULL;
  GPIO_InitStruct.Speed = GPIO_SPEED_FREQ_LOW;
  GPIO_InitStruct.Alternate = GPIO_AF14_LTDC;
  HAL_GPIO_Init(GPIOD, &GPIO_InitStruct);

  /*Configure GPIO pins : G3_Pin B4_Pin */
  GPIO_InitStruct.Pin = G3_Pin|B4_Pin;
  GPIO_InitStruct.Mode = GPIO_MODE_AF_PP;
  GPIO_InitStruct.Pull = GPIO_NOPULL;
  GPIO_InitStruct.Speed = GPIO_SPEED_FREQ_LOW;
  GPIO_InitStruct.Alternate = GPIO_AF9_LTDC;
  HAL_GPIO_Init(GPIOG, &GPIO_InitStruct);

  /*Configure GPIO pins : LD3_Pin LD4_Pin */
  GPIO_InitStruct.Pin = LD3_Pin|LD4_Pin;
  GPIO_InitStruct.Mode = GPIO_MODE_OUTPUT_PP;
  GPIO_InitStruct.Pull = GPIO_NOPULL;
  GPIO_InitStruct.Speed = GPIO_SPEED_FREQ_LOW;
  HAL_GPIO_Init(GPIOG, &GPIO_InitStruct);

  /*Configure GPIO pins : SDCKE1_Pin SDNE1_Pin */
  GPIO_InitStruct.Pin = SDCKE1_Pin|SDNE1_Pin;
  GPIO_InitStruct.Mode = GPIO_MODE_AF_PP;
  GPIO_InitStruct.Pull = GPIO_NOPULL;
  GPIO_InitStruct.Speed = GPIO_SPEED_FREQ_VERY_HIGH;
  GPIO_InitStruct.Alternate = GPIO_AF12_FMC;
  HAL_GPIO_Init(GPIOB, &GPIO_InitStruct);

}

/* USER CODE BEGIN 4 */

void task1_handler (void* parameters)
{
	char msg[100];
    while(1)
	{
		//printf("%s\r\n",(char*)parameters);
    	snprintf (msg,100,"%s\r\n",(char*)parameters);
    	SEGGER_SYSVIEW_PrintfTarget(msg);  // to print msg in systemview target windows
		taskYIELD();			//use to give control to other task
	}
    /* Tasks must not attempt to return from their implementing
            function or otherwise exit.  In newer FreeRTOS port
            attempting to do so will result in an configASSERT() being
            called if it is defined.  If it is necessary for a task to
            exit then have the task call vTaskDelete( NULL ) to ensure
            its exit is clean. */
            vTaskDelete( NULL );
}
void task2_handler (void* parameters)
{
	char msg[100];
    while(1)
	{
		//printf("%s\r\n",(char*)parameters);
    	snprintf (msg,100,"%s\r\n",(char*)parameters);
    	SEGGER_SYSVIEW_PrintfTarget(msg);  // to print msg in systemview target windows
		taskYIELD();			//use to give control to other task
	}
    /* Tasks must not attempt to return from their implementing
            function or otherwise exit.  In newer FreeRTOS port
            attempting to do so will result in an configASSERT() being
            called if it is defined.  If it is necessary for a task to
            exit then have the task call vTaskDelete( NULL ) to ensure
            its exit is clean. */
            vTaskDelete( NULL );
}

/* USER CODE END 4 */

void HAL_TIM_PeriodElapsedCallback(TIM_HandleTypeDef *htim)
{
  if (htim->Instance == TIM5) {
    HAL_IncTick();
  }
}

void Error_Handler(void)
{
  __disable_irq();
  while (1)
  {
  }
}

/************************ (C) COPYRIGHT STMicroelectronics *****END OF FILE****/
